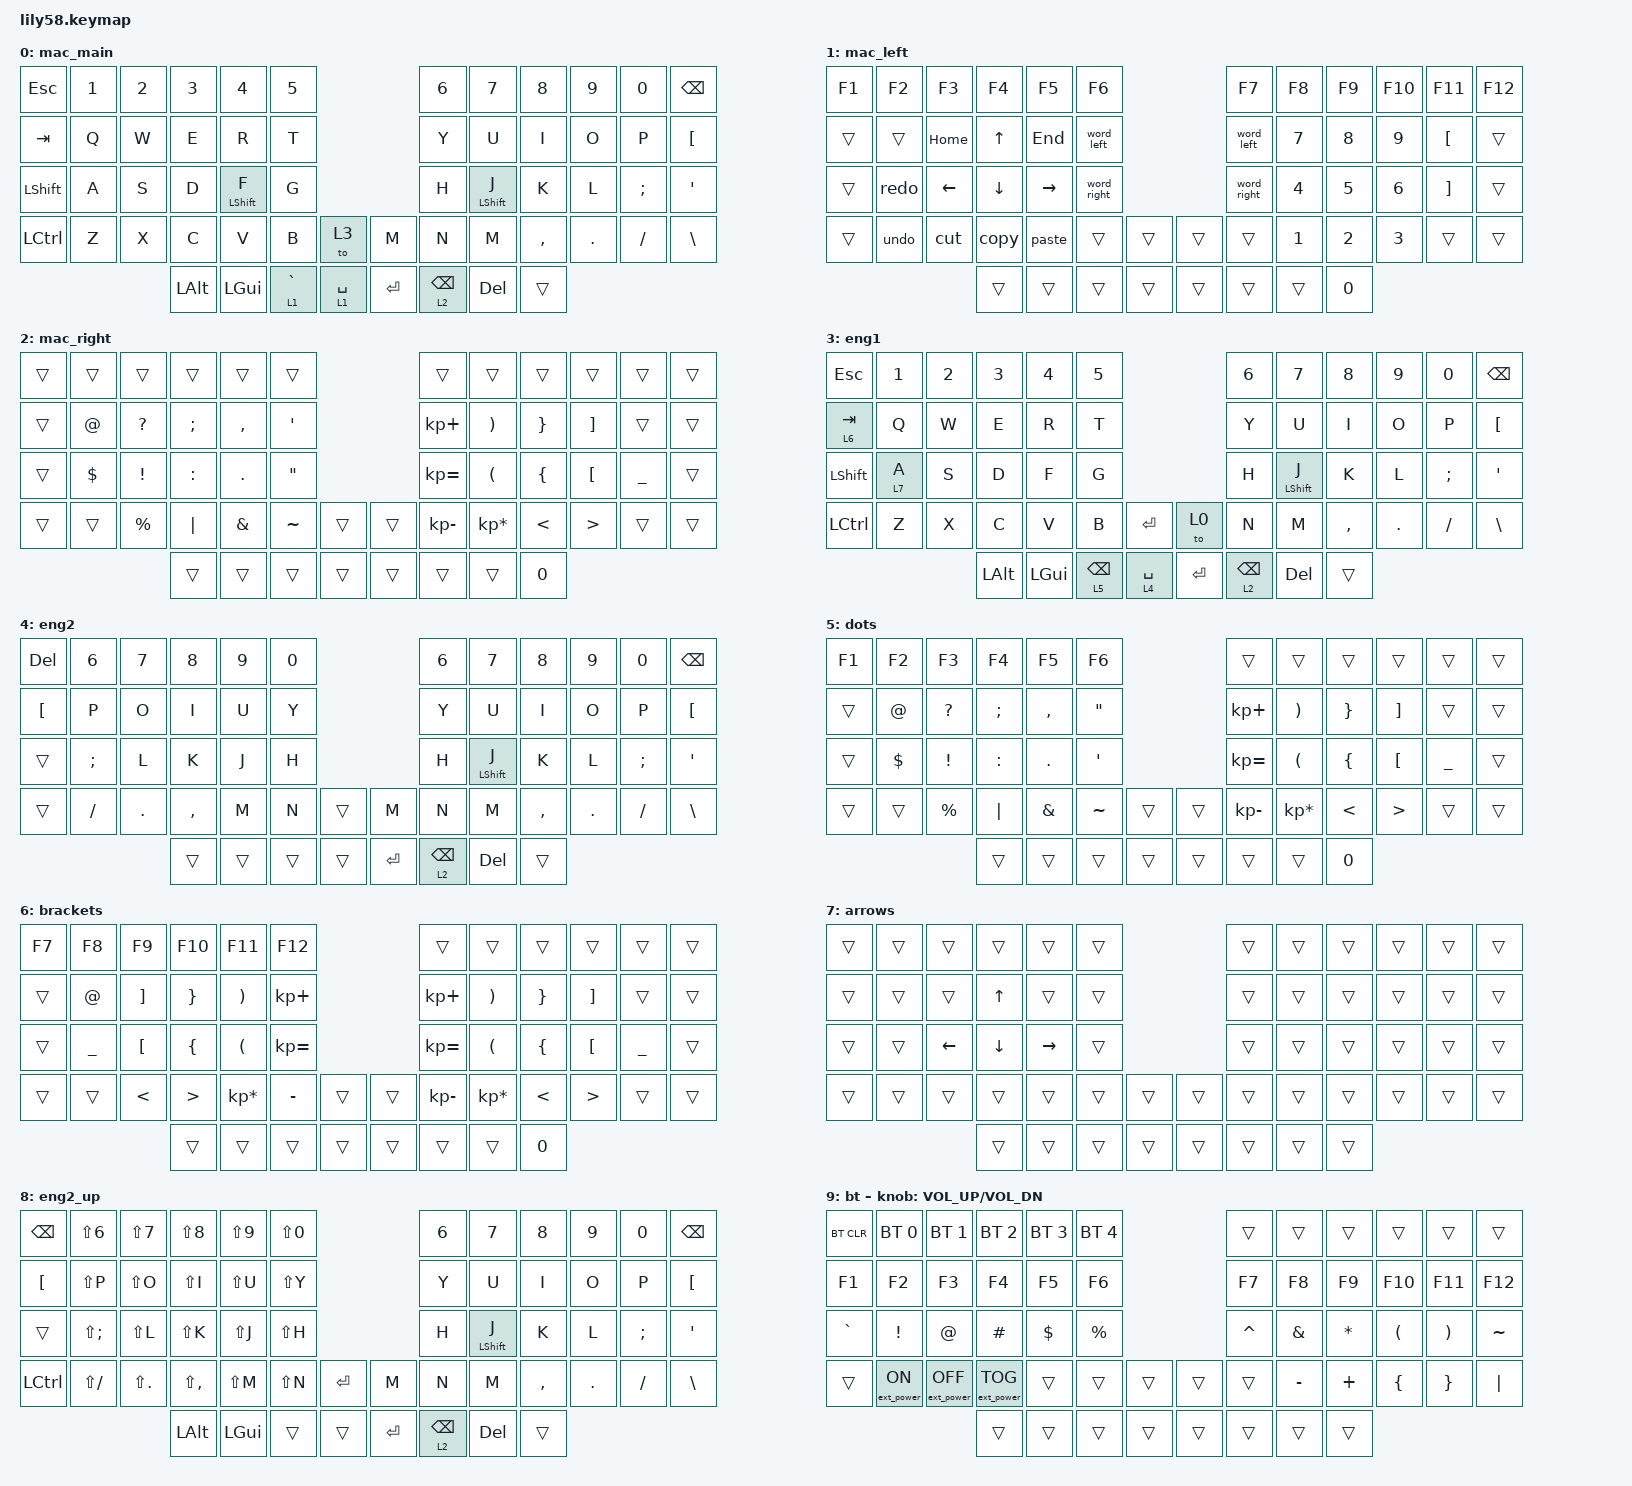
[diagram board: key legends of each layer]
/*
 * Copyright (c) 2020 The ZMK Contributors
 *
 * SPDX-License-Identifier: MIT
 */

#include <behaviors.dtsi>
#include <dt-bindings/zmk/bt.h>
#include <dt-bindings/zmk/ext_power.h>
#include <dt-bindings/zmk/keys.h>

/ {
    combos { compatible = "zmk,combos"; };

    behaviors {
        ss_hs_modmorph: ss_hs_modmorph {
            compatible = "zmk,behavior-mod-morph";
            label = "SS_HS_MODMORPH";
            bindings = <&kp M>, <&kp RIGHT_BRACKET>;

            #binding-cells = <0>;
            mods = <(MOD_LSFT|MOD_RSFT)>;
        };

        kh_hs_tapdance: kh_hs_tapdance {
            compatible = "zmk,behavior-tap-dance";
            label = "KH_HS_TAPDANCE";
            #binding-cells = <0>;
            tapping-term-ms = <200>;
            bindings = <&kp LEFT_BRACKET>, <&kp RIGHT_BRACKET>;
        };

        hrm: hrm {
            compatible = "zmk,behavior-hold-tap";
            #binding-cells = <2>;
            flavor = "tap-preferred";
            tapping-term-ms = <200>;
            quick-tap-ms = <200>;
            require-prior-idle-ms = <125>;
            bindings = <&kp>, <&kp>;
        };
    };

    macros {
        word_left: word_left {
            compatible = "zmk,behavior-macro";
            #binding-cells = <0>;
            bindings = <&kp LG(LEFT)>;
            label = "WORD_LEFT";
        };

        word_right: word_right {
            compatible = "zmk,behavior-macro";
            #binding-cells = <0>;
            bindings = <&kp LG(RIGHT)>;
            label = "WORD_RIGHT";
        };

        copy: copy {
            compatible = "zmk,behavior-macro";
            #binding-cells = <0>;
            bindings = <&kp LG(C)>;
            label = "COPY";
        };

        cut: cut {
            compatible = "zmk,behavior-macro";
            #binding-cells = <0>;
            bindings = <&kp LG(X)>;
            label = "CUT";
        };

        paste: paste {
            compatible = "zmk,behavior-macro";
            #binding-cells = <0>;
            bindings = <&kp LG(V)>;
            label = "PASTE";
        };

        undo: undo {
            compatible = "zmk,behavior-macro";
            #binding-cells = <0>;
            bindings = <&kp LG(Z)>;
            label = "UNDO";
        };

        redo: redo {
            compatible = "zmk,behavior-macro";
            #binding-cells = <0>;
            bindings = <&kp LG(Y)>;
            label = "REDO";
        };
    };

    keymap {
        compatible = "zmk,keymap";

        mac_main {
            bindings = <
&kp ESC    &kp N1  &kp N2  &kp N3    &kp N4             &kp N5                                 &kp N6           &kp N7             &kp N8     &kp N9   &kp N0    &kp BSPC
&kp TAB    &kp Q   &kp W   &kp E     &kp R              &kp T                                  &kp Y            &kp U              &kp I      &kp O    &kp P     &kp LEFT_BRACKET
&kp LSHFT  &kp A   &kp S   &kp D     &hrm LEFT_SHIFT F  &kp G                                  &kp H            &hrm LEFT_SHIFT J  &kp K      &kp L    &kp SEMI  &kp SINGLE_QUOTE
&kp LCTRL  &kp Z   &kp X   &kp C     &kp V              &kp B        &to 3          &kp M      &kp N            &kp M              &kp COMMA  &kp DOT  &kp FSLH  &kp BSLH
                           &kp LALT  &kp LGUI           &lt 1 GRAVE  &lt 1 SPACE    &kp ENTER  &lt 2 BACKSPACE  &kp DEL            &trans
            >;
        };

        mac_left {
            bindings = <
&kp F1  &kp F2  &kp F3    &kp F4    &kp F5     &kp F6                         &kp F7       &kp F8  &kp F9  &kp F10  &kp F11            &kp F12
&trans  &trans  &kp HOME  &kp UP    &kp END    &word_left                     &word_left   &kp N7  &kp N8  &kp N9   &kp LEFT_BRACKET   &trans
&trans  &redo   &kp LEFT  &kp DOWN  &kp RIGHT  &word_right                    &word_right  &kp N4  &kp N5  &kp N6   &kp RIGHT_BRACKET  &trans
&trans  &undo   &cut      &copy     &paste     &trans       &trans    &trans  &trans       &kp N1  &kp N2  &kp N3   &trans             &trans
                          &trans    &trans     &trans       &trans    &trans  &trans       &trans  &kp N0
            >;
        };

        mac_right {
            bindings = <
&trans  &trans       &trans           &trans         &trans         &trans                               &trans        &trans                 &trans           &trans             &trans          &trans
&trans  &kp AT_SIGN  &kp QUESTION     &kp SEMICOLON  &kp COMMA      &kp SQT                              &kp KP_PLUS   &kp RIGHT_PARENTHESIS  &kp RIGHT_BRACE  &kp RIGHT_BRACKET  &trans          &trans
&trans  &kp DOLLAR   &kp EXCLAMATION  &kp COLON      &kp DOT        &kp DOUBLE_QUOTES                    &kp KP_EQUAL  &kp LEFT_PARENTHESIS   &kp LEFT_BRACE   &kp LEFT_BRACKET   &kp UNDERSCORE  &trans
&trans  &trans       &kp PERCENT      &kp PIPE       &kp AMPERSAND  &kp TILDE          &trans    &trans  &kp KP_MINUS  &kp KP_ASTERISK        &kp LT           &kp GT             &trans          &trans
                                      &trans         &trans         &trans             &trans    &trans  &trans        &trans                 &kp N0
            >;
        };

        eng1 {
            bindings = <
&kp ESC    &kp N1   &kp N2  &kp N3    &kp N4        &kp N5                                     &kp N6           &kp N7             &kp N8     &kp N9   &kp N0    &kp BSPC
&lt 6 TAB  &kp Q    &kp W   &kp E     &kp R         &kp T                                      &kp Y            &kp U              &kp I      &kp O    &kp P     &kp LEFT_BRACKET
&kp LSHFT  &lt 7 A  &kp S   &kp D     &kp F         &kp G                                      &kp H            &hrm LEFT_SHIFT J  &kp K      &kp L    &kp SEMI  &kp SINGLE_QUOTE
&kp LCTRL  &kp Z    &kp X   &kp C     &kp V         &kp B            &kp ENTER      &to 0      &kp N            &kp M              &kp COMMA  &kp DOT  &kp FSLH  &kp BSLH
                            &kp LALT  &kp LEFT_GUI  &lt 5 BACKSPACE  &lt 4 SPACE    &kp ENTER  &lt 2 BACKSPACE  &kp DEL            &trans
            >;
        };

        eng2 {
            bindings = <
&kp DEL   &kp N6    &kp N7   &kp N8     &kp N9  &kp N0                       &kp N6           &kp N7             &kp N8     &kp N9   &kp N0    &kp BSPC
&kp LBKT  &kp P     &kp O    &kp I      &kp U   &kp Y                        &kp Y            &kp U              &kp I      &kp O    &kp P     &kp LEFT_BRACKET
&trans    &kp SEMI  &kp L    &kp K      &kp J   &kp H                        &kp H            &hrm LEFT_SHIFT J  &kp K      &kp L    &kp SEMI  &kp SINGLE_QUOTE
&trans    &kp FSLH  &kp DOT  &kp COMMA  &kp M   &kp N   &trans    &kp M      &kp N            &kp M              &kp COMMA  &kp DOT  &kp FSLH  &kp BSLH
                             &trans     &trans  &trans  &trans    &kp ENTER  &lt 2 BACKSPACE  &kp DEL            &trans
            >;
        };

        dots {
            bindings = <
&kp F1  &kp F2       &kp F3           &kp F4         &kp F5         &kp F6                               &trans        &trans                 &trans           &trans             &trans          &trans
&trans  &kp AT_SIGN  &kp QUESTION     &kp SEMICOLON  &kp COMMA      &kp DOUBLE_QUOTES                    &kp KP_PLUS   &kp RIGHT_PARENTHESIS  &kp RIGHT_BRACE  &kp RIGHT_BRACKET  &trans          &trans
&trans  &kp DOLLAR   &kp EXCLAMATION  &kp COLON      &kp DOT        &kp SINGLE_QUOTE                     &kp KP_EQUAL  &kp LEFT_PARENTHESIS   &kp LEFT_BRACE   &kp LEFT_BRACKET   &kp UNDERSCORE  &trans
&trans  &trans       &kp PERCENT      &kp PIPE       &kp AMPERSAND  &kp TILDE          &trans    &trans  &kp KP_MINUS  &kp KP_ASTERISK        &kp LT           &kp GT             &trans          &trans
                                      &trans         &trans         &trans             &trans    &trans  &trans        &trans                 &kp N0
            >;
        };

        brackets {
            bindings = <
&kp F7  &kp F8       &kp F9             &kp F10           &kp F11                &kp F12                         &trans        &trans                 &trans           &trans             &trans          &trans
&trans  &kp AT_SIGN  &kp RIGHT_BRACKET  &kp RIGHT_BRACE   &kp RIGHT_PARENTHESIS  &kp KP_PLUS                     &kp KP_PLUS   &kp RIGHT_PARENTHESIS  &kp RIGHT_BRACE  &kp RIGHT_BRACKET  &trans          &trans
&trans  &kp UNDER    &kp LEFT_BRACKET   &kp LEFT_BRACE    &kp LEFT_PARENTHESIS   &kp KP_EQUAL                    &kp KP_EQUAL  &kp LEFT_PARENTHESIS   &kp LEFT_BRACE   &kp LEFT_BRACKET   &kp UNDERSCORE  &trans
&trans  &trans       &kp LESS_THAN      &kp GREATER_THAN  &kp KP_MULTIPLY        &kp MINUS     &trans    &trans  &kp KP_MINUS  &kp KP_ASTERISK        &kp LT           &kp GT             &trans          &trans
                                        &trans            &trans                 &trans        &trans    &trans  &trans        &trans                 &kp N0
            >;
        };

        arrows {
            bindings = <
&trans  &trans  &trans    &trans    &trans     &trans                    &trans  &trans  &trans  &trans  &trans  &trans
&trans  &trans  &trans    &kp UP    &trans     &trans                    &trans  &trans  &trans  &trans  &trans  &trans
&trans  &trans  &kp LEFT  &kp DOWN  &kp RIGHT  &trans                    &trans  &trans  &trans  &trans  &trans  &trans
&trans  &trans  &trans    &trans    &trans     &trans  &trans    &trans  &trans  &trans  &trans  &trans  &trans  &trans
                          &trans    &trans     &trans  &trans    &trans  &trans  &trans  &trans
            >;
        };

        eng2_up {
            bindings = <
&kp BSPC   &kp LS(N6)    &kp LS(N7)   &kp LS(N8)     &kp LS(N9)  &kp LS(N0)                          &kp N6           &kp N7             &kp N8     &kp N9   &kp N0    &kp BSPC
&kp LBKT   &kp LS(P)     &kp LS(O)    &kp LS(I)      &kp LS(U)   &kp LS(Y)                           &kp Y            &kp U              &kp I      &kp O    &kp P     &kp LEFT_BRACKET
&trans     &kp LS(SEMI)  &kp LS(L)    &kp LS(K)      &kp LS(J)   &kp LS(H)                           &kp H            &hrm LEFT_SHIFT J  &kp K      &kp L    &kp SEMI  &kp SINGLE_QUOTE
&kp LCTRL  &kp LS(FSLH)  &kp LS(DOT)  &kp LS(COMMA)  &kp LS(M)   &kp LS(N)   &kp ENTER    &kp M      &kp N            &kp M              &kp COMMA  &kp DOT  &kp FSLH  &kp BSLH
                                      &kp LALT       &kp LGUI    &trans      &trans       &kp ENTER  &lt 2 BACKSPACE  &kp DEL            &trans
            >;
        };

        bt {
            bindings = <
&bt BT_CLR  &bt BT_SEL 0      &bt BT_SEL 1       &bt BT_SEL 2       &bt BT_SEL 3  &bt BT_SEL 4                    &trans     &trans     &trans     &trans    &trans    &trans
&kp F1      &kp F2            &kp F3             &kp F4             &kp F5        &kp F6                          &kp F7     &kp F8     &kp F9     &kp F10   &kp F11   &kp F12
&kp GRAVE   &kp EXCL          &kp AT             &kp HASH           &kp DOLLAR    &kp PRCNT                       &kp CARET  &kp AMPS   &kp ASTRK  &kp LPAR  &kp RPAR  &kp TILDE
&trans      &ext_power EP_ON  &ext_power EP_OFF  &ext_power EP_TOG  &trans        &trans        &trans    &trans  &trans     &kp MINUS  &kp PLUS   &kp LBRC  &kp RBRC  &kp PIPE
                                                 &trans             &trans        &trans        &trans    &trans  &trans     &trans     &trans
            >;

            sensor-bindings = <&inc_dec_kp C_VOL_UP C_VOL_DN>;
        };
    };

    conditional_layers {
        compatible = "zmk,conditional-layers";

        bt {
            if-layers = <9 9>;
            then-layer = <9>;
        };
    };
};
